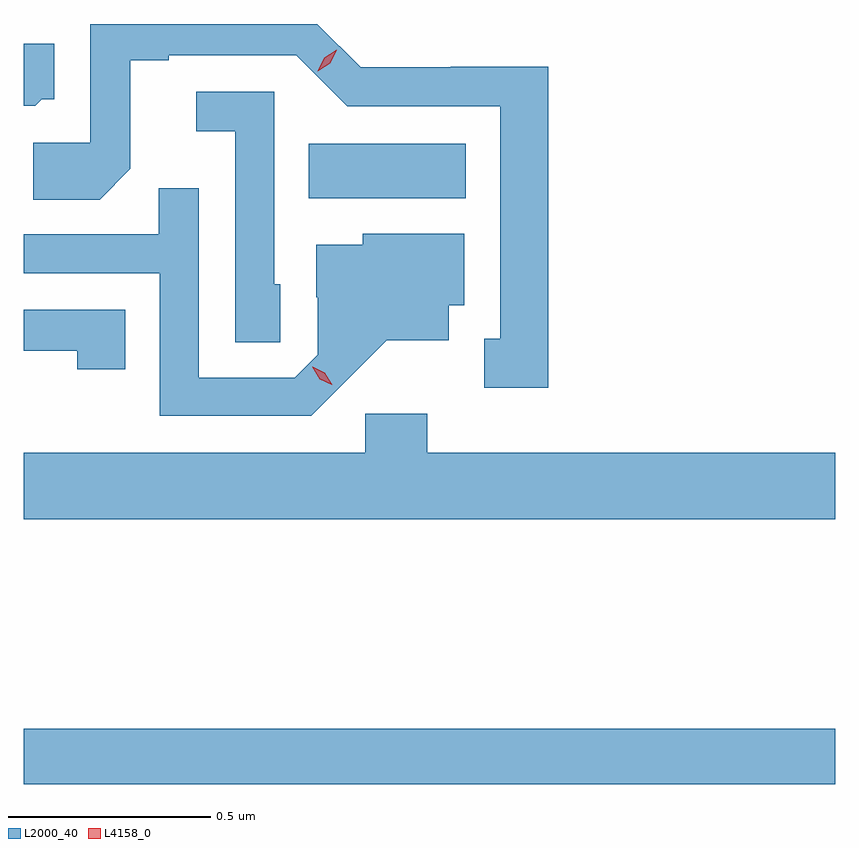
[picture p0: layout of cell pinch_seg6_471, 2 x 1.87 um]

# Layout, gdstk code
import gdstk
lib = gdstk.Library(unit=1e-6, precision=1e-09)
def R(c, l, rs):  # rectangles x0, y0, x1, y1
    for r in rs: c.add(gdstk.rectangle(r[:2], r[2:], *l))
def P(c, l, *ps):  # polygons
    for p in ps: c.add(gdstk.Polygon(p, *l))
L2000_40 = (2000, 40)
L4158_0 = (4158, 0)

pinch_seg6_471 = lib.new_cell('pinch_seg6_471')
R(pinch_seg6_471, L2000_40, [(730.738,929.368,732.738,929.504), (731.44,930.812,731.827,930.946)])
P(pinch_seg6_471, L2000_40, [(732.031,931.136),(731.79,931.136),(731.79,931.134),(731.568,931.134),(731.461,931.241),(730.902,931.241),(730.902,930.948),(730.761,930.948),(730.761,930.808),(730.925,930.808),(731.001,930.884),(731.001,931.152),(731.095,931.152),(731.095,931.164),(731.409,931.164),(731.535,931.038),(731.912,931.038),(731.912,930.465),(731.873,930.465),(731.873,930.345),(732.031,930.345)],
  [(730.782,931.056),(730.813,931.056),(730.813,931.192),(730.738,931.192),(730.738,931.04),(730.766,931.04)],
  [(731.37,930.6),(731.355,930.6),(731.355,931.074),(731.163,931.074),(731.163,930.977),(731.259,930.977),(731.259,930.457),(731.37,930.457)],
  [(731.53,930.359),(731.633,930.461),(731.785,930.461),(731.785,930.548),(731.824,930.548),(731.824,930.724),(731.574,930.724),(731.574,930.697),(731.459,930.697),(731.459,930.568),(731.463,930.568),(731.463,930.426),(731.406,930.369),(731.169,930.369),(731.169,930.836),(731.071,930.836),(731.071,930.723),(730.738,930.723),(730.738,930.627),(731.073,930.627),(731.073,930.276),(731.446,930.276)],
  [(730.988,930.537),(730.738,930.537),(730.738,930.436),(730.87,930.436),(730.87,930.39),(730.988,930.39)],
  [(732.738,930.184),(731.732,930.184),(731.732,930.28),(731.58,930.28),(731.58,930.184),(730.738,930.184),(730.738,930.02),(732.738,930.02)])
P(pinch_seg6_471, L4158_0, [(731.462,931.124),(731.462,931.125),(731.479,931.158),(731.51,931.177),(731.51,931.177),(731.51,931.177),(731.493,931.144),(731.462,931.124)],
  [(731.497,930.352),(731.467,930.366),(731.449,930.396),(731.449,930.396),(731.45,930.396),(731.48,930.381),(731.498,930.352),(731.498,930.352)])

lib.write_gds('pinch_seg6_471.gds')
